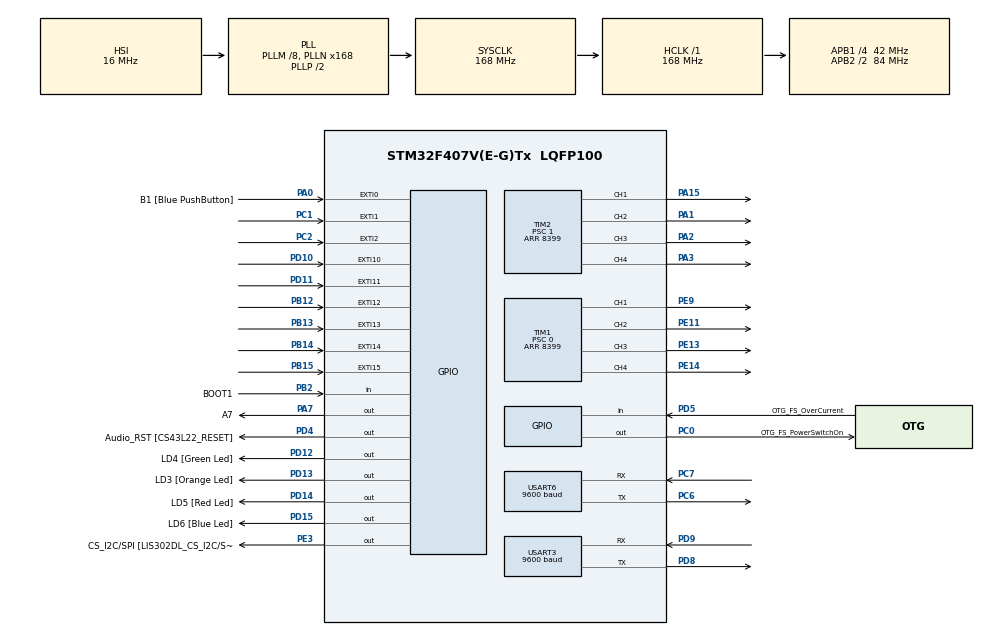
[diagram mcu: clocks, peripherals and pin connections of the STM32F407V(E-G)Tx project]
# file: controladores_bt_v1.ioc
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Mcu.Family=STM32F4
Mcu.Name=STM32F407V(E-G)Tx
Mcu.Package=LQFP100
NVIC.EXTI0_IRQn=true\:0\:0\:false\:false\:true\:true\:true\:true
NVIC.EXTI15_10_IRQn=true\:0\:0\:false\:false\:true\:true\:true\:true
NVIC.EXTI1_IRQn=true\:0\:0\:false\:false\:true\:true\:true\:true
NVIC.EXTI2_IRQn=true\:0\:0\:false\:false\:true\:true\:true\:true
NVIC.PriorityGroup=NVIC_PRIORITYGROUP_0
NVIC.TIM3_IRQn=true\:0\:0\:false\:false\:true\:true\:true\:true
NVIC.USART6_IRQn=true\:0\:0\:false\:false\:true\:true\:true\:true
PA0-WKUP.GPIO_Label=B1 [Blue PushButton]
PA0-WKUP.Signal=GPXTI0
PA1.Signal=S_TIM2_CH2
PA10.GPIO_Label=OTG_FS_ID
PA10.GPIO_Mode=GPIO_MODE_AF_PP
PA10.GPIO_PuPd=GPIO_NOPULL
PA10.GPIO_Speed=GPIO_SPEED_FREQ_LOW
PA10.Signal=USB_OTG_FS_ID
PA11.GPIO_Label=OTG_FS_DM
PA11.GPIO_Mode=GPIO_MODE_AF_PP
PA11.GPIO_PuPd=GPIO_NOPULL
PA11.GPIO_Speed=GPIO_SPEED_FREQ_LOW
PA11.Signal=USB_OTG_FS_DM
PA12.GPIO_Label=OTG_FS_DP
PA12.GPIO_Mode=GPIO_MODE_AF_PP
PA12.GPIO_PuPd=GPIO_NOPULL
PA12.GPIO_Speed=GPIO_SPEED_FREQ_LOW
PA12.Signal=USB_OTG_FS_DP
PA13.GPIO_Label=SWDIO
PA13.Signal=SYS_JTMS-SWDIO
PA14.GPIO_Label=SWCLK
PA14.Signal=SYS_JTCK-SWCLK
PA15.Signal=S_TIM2_CH1_ETR
PA2.Signal=S_TIM2_CH3
PA3.Signal=S_TIM2_CH4
PA4.GPIO_Label=I2S3_WS [CS43L22_LRCK]
PA4.GPIO_Mode=GPIO_MODE_AF_PP
PA4.GPIO_PuPd=GPIO_NOPULL
PA4.GPIO_Speed=GPIO_SPEED_FREQ_LOW
PA4.Signal=I2S3_WS
PA5.GPIO_Label=SPI1_SCK [LIS302DL_SCL/SPC]
PA5.GPIO_Mode=GPIO_MODE_AF_PP
PA5.GPIO_PuPd=GPIO_NOPULL
PA5.GPIO_Speed=GPIO_SPEED_FREQ_LOW
PA5.Signal=SPI1_SCK
PA6.GPIO_Label=SPI1_MISO [LIS302DL_SDO]
PA6.GPIO_Mode=GPIO_MODE_AF_PP
PA6.GPIO_PuPd=GPIO_NOPULL
PA6.GPIO_Speed=GPIO_SPEED_FREQ_LOW
PA6.Signal=SPI1_MISO
PA7.GPIO_Label=A7
PA7.Signal=GPIO_Output
PA9.GPIO_Label=VBUS_FS
PA9.GPIO_Mode=GPIO_MODE_INPUT
PA9.GPIO_PuPd=GPIO_NOPULL
PA9.Signal=USB_OTG_FS_VBUS
PB10.GPIO_Label=CLK_IN [MP45DT02_CLK]
PB10.GPIO_Mode=GPIO_MODE_AF_PP
PB10.GPIO_PuPd=GPIO_NOPULL
PB10.GPIO_Speed=GPIO_SPEED_FREQ_LOW
PB10.Signal=I2S2_CK
PB12.Signal=GPXTI12
PB13.Signal=GPXTI13
PB14.Signal=GPXTI14
PB15.Signal=GPXTI15
PB2.GPIO_Label=BOOT1
PB2.GPIO_Mode=GPIO_MODE_INPUT
PB2.GPIO_PuPd=GPIO_NOPULL
PB2.Signal=GPIO_Input
PB3.GPIO_Label=SWO
PB3.Signal=SYS_JTDO-SWO
PB6.GPIO_Label=Audio_SCL [CS43L22_SCL]
PB6.GPIO_Mode=GPIO_MODE_AF_OD
PB6.GPIO_PuPd=GPIO_NOPULL
PB6.GPIO_Speed=GPIO_SPEED_FREQ_LOW
PB6.Signal=I2C1_SCL
PB9.GPIO_Label=Audio_SDA [CS43L22_SDA]
PB9.GPIO_Mode=GPIO_MODE_AF_OD
PB9.GPIO_PuPd=GPIO_NOPULL
PB9.GPIO_Speed=GPIO_SPEED_FREQ_LOW
PB9.Signal=I2C1_SDA
PC0.GPIO_Label=OTG_FS_PowerSwitchOn
PC0.GPIO_PuPd=GPIO_NOPULL
PC0.GPIO_Speed=GPIO_SPEED_FREQ_LOW
PC0.PinState=GPIO_PIN_SET
PC0.Signal=GPIO_Output
PC1.Signal=GPXTI1
PC10.GPIO_Label=I2S3_SCK [CS43L22_SCLK]
PC10.GPIO_Mode=GPIO_MODE_AF_PP
PC10.GPIO_PuPd=GPIO_NOPULL
PC10.GPIO_Speed=GPIO_SPEED_FREQ_LOW
PC10.Signal=I2S3_CK
PC12.GPIO_Label=I2S3_SD [CS43L22_SDIN]
PC12.GPIO_Mode=GPIO_MODE_AF_PP
PC12.GPIO_PuPd=GPIO_NOPULL
PC12.GPIO_Speed=GPIO_SPEED_FREQ_LOW
PC12.Signal=I2S3_SD
PC14-OSC32_IN.GPIO_Label=PC14-OSC32_IN
PC14-OSC32_IN.Mode=LSE-External-Oscillator
PC14-OSC32_IN.Signal=RCC_OSC32_IN
PC15-OSC32_OUT.GPIO_Label=PC15-OSC32_OUT
PC15-OSC32_OUT.Mode=LSE-External-Oscillator
PC15-OSC32_OUT.Signal=RCC_OSC32_OUT
PC2.Signal=GPXTI2
PC3.GPIO_Label=PDM_OUT [MP45DT02_DOUT]
PC3.GPIO_Mode=GPIO_MODE_AF_PP
PC3.GPIO_PuPd=GPIO_NOPULL
PC3.GPIO_Speed=GPIO_SPEED_FREQ_LOW
PC3.Signal=I2S2_SD
PC6.Mode=Asynchronous
PC6.Signal=USART6_TX
PC7.Mode=Asynchronous
PC7.Signal=USART6_RX
PD10.Signal=GPXTI10
PD11.Signal=GPXTI11
PD12.GPIO_Label=LD4 [Green Led]
PD12.GPIO_PuPd=GPIO_NOPULL
PD12.GPIO_Speed=GPIO_SPEED_FREQ_LOW
PD12.Signal=GPIO_Output
PD13.GPIO_Label=LD3 [Orange Led]
PD13.GPIO_PuPd=GPIO_NOPULL
PD13.GPIO_Speed=GPIO_SPEED_FREQ_LOW
PD13.Signal=GPIO_Output
PD14.GPIO_Label=LD5 [Red Led]
PD14.GPIO_PuPd=GPIO_NOPULL
PD14.GPIO_Speed=GPIO_SPEED_FREQ_LOW
PD14.Signal=GPIO_Output
PD15.GPIO_Label=LD6 [Blue Led]
PD15.GPIO_PuPd=GPIO_NOPULL
PD15.GPIO_Speed=GPIO_SPEED_FREQ_LOW
PD15.Signal=GPIO_Output
PD4.GPIO_Label=Audio_RST [CS43L22_RESET]
PD4.GPIO_PuPd=GPIO_NOPULL
PD4.GPIO_Speed=GPIO_SPEED_FREQ_LOW
PD4.Signal=GPIO_Output
PD5.GPIO_Label=OTG_FS_OverCurrent
PD5.GPIO_Mode=GPIO_MODE_INPUT
PD5.GPIO_PuPd=GPIO_NOPULL
PD5.Signal=GPIO_Input
PD8.Mode=Asynchronous
PD8.Signal=USART3_TX
PD9.Mode=Asynchronous
PD9.Signal=USART3_RX
PE11.Signal=S_TIM1_CH2
PE13.Signal=S_TIM1_CH3
PE14.Signal=S_TIM1_CH4
PE3.GPIO_Label=CS_I2C/SPI [LIS302DL_CS_I2C/SPI]
PE3.GPIO_PuPd=GPIO_NOPULL
PE3.GPIO_Speed=GPIO_SPEED_FREQ_LOW
PE3.Signal=GPIO_Output
PE9.Signal=S_TIM1_CH1
PH0-OSC_IN.GPIO_Label=PH0-OSC_IN
PH0-OSC_IN.Mode=HSE-External-Oscillator
PH0-OSC_IN.Signal=RCC_OSC_IN
PH1-OSC_OUT.GPIO_Label=PH1-OSC_OUT
PH1-OSC_OUT.Mode=HSE-External-Oscillator
PH1-OSC_OUT.Signal=RCC_OSC_OUT
ProjectManager.HeapSize=0x200
ProjectManager.StackSize=0x400
ProjectManager.TargetToolchain=STM32CubeIDE
RCC.48MHZClocksFreq_Value=48000000
RCC.AHBFreq_Value=168000000
RCC.APB1CLKDivider=RCC_HCLK_DIV4
RCC.APB1Freq_Value=42000000
RCC.APB1TimFreq_Value=84000000
RCC.APB2CLKDivider=RCC_HCLK_DIV2
RCC.APB2Freq_Value=84000000
RCC.APB2TimFreq_Value=168000000
RCC.CortexFreq_Value=168000000
RCC.HCLKFreq_Value=168000000
RCC.HSE_VALUE=8000000
RCC.HSI_VALUE=16000000
RCC.PLLM=8
RCC.PLLN=168
RCC.PLLQ=7
RCC.SYSCLKFreq_VALUE=168000000
RCC.SYSCLKSource=RCC_SYSCLKSOURCE_PLLCLK
RCC.VCOOutputFreq_Value=336000000
SH.S_TIM1_CH1.0=TIM1_CH1,PWM Generation1 CH1
SH.S_TIM1_CH2.0=TIM1_CH2,PWM Generation2 CH2
SH.S_TIM1_CH3.0=TIM1_CH3,PWM Generation3 CH3
SH.S_TIM1_CH4.0=TIM1_CH4,PWM Generation4 CH4
SH.S_TIM2_CH1_ETR.0=TIM2_CH1,PWM Generation1 CH1
SH.S_TIM2_CH2.0=TIM2_CH2,PWM Generation2 CH2
SH.S_TIM2_CH3.0=TIM2_CH3,PWM Generation3 CH3
SH.S_TIM2_CH4.0=TIM2_CH4,PWM Generation4 CH4
TIM1.AutoReloadPreload=TIM_AUTORELOAD_PRELOAD_ENABLE
TIM1.Channel-PWM\ Generation1\ CH1=TIM_CHANNEL_1
TIM1.Channel-PWM\ Generation2\ CH2=TIM_CHANNEL_2
TIM1.Channel-PWM\ Generation3\ CH3=TIM_CHANNEL_3
TIM1.Channel-PWM\ Generation4\ CH4=TIM_CHANNEL_4
TIM1.Period=8399
TIM1.Prescaler=0
TIM2.AutoReloadPreload=TIM_AUTORELOAD_PRELOAD_ENABLE
TIM2.Channel-PWM\ Generation1\ CH1=TIM_CHANNEL_1
TIM2.Channel-PWM\ Generation2\ CH2=TIM_CHANNEL_2
TIM2.Channel-PWM\ Generation3\ CH3=TIM_CHANNEL_3
TIM2.Channel-PWM\ Generation4\ CH4=TIM_CHANNEL_4
TIM2.Period=8399
TIM2.Prescaler=1
TIM3.AutoReloadPreload=TIM_AUTORELOAD_PRELOAD_ENABLE
TIM3.Period=9999
TIM3.Prescaler=41
USART3.BaudRate=9600
USART3.VirtualMode=VM_ASYNC
USART6.BaudRate=9600
USART6.VirtualMode=VM_ASYNC
VP_TIM1_VS_ClockSourceINT.Mode=Internal
VP_TIM2_VS_ClockSourceINT.Mode=Internal
VP_TIM3_VS_ClockSourceINT.Mode=Internal
board=STM32F407G-DISC1

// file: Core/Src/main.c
/* USER CODE BEGIN Header */
/**

/* USER CODE END Header */
#include "main.h"

/* USER CODE BEGIN Includes */
#include <stdio.h>
#include <string.h>

// Variables globales para cada motor
typedef struct {
    float kp; // Ganancia proporcional
    float ki; // Ganancia integral
    float prev_error; // Error anterior
    float integral; // Acumulador integral
} PIcontroller;

void controlarMotor(TIM_HandleTypeDef *htim, uint32_t channel1, uint32_t channel2,
                    PIcontroller *pid, float setpoint, float feedback, int direccion, float a, float b, int motor);

void movimiento(char str, float setpointM1, float setpointM2, float setpointM3, float setpointM4,
                float feedbackM1, float feedbackM2, float feedbackM3, float feedbackM4, float a_m1, float b_m1,
				float a_m2, float b_m2, float a_m3, float b_m3,float a_m4, float b_m4);

/* USER CODE END Includes */

TIM_HandleTypeDef htim1;
TIM_HandleTypeDef htim2;
TIM_HandleTypeDef htim3;

UART_HandleTypeDef huart3;
UART_HandleTypeDef huart6;

void SystemClock_Config(void);
static void MX_GPIO_Init(void);
static void MX_TIM1_Init(void);
static void MX_TIM2_Init(void);
static void MX_TIM3_Init(void);
static void MX_USART6_UART_Init(void);
static void MX_USART3_UART_Init(void);

/* USER CODE BEGIN 0 */
#define ENCODER_PPR 2000 // Pulsos por revolución del encoder
#define TIMER_INTERVAL 10 // Intervalo del cálculo de velocidad (ms)
/* Variables globales para los encoders */
char rxData='e';
char datico='e';
int *velocidad_mostrar;

volatile int32_t encoder_count_m1 = 0, encoder_count_m2 = 0, encoder_count_m3 = 0, encoder_count_m4 = 0;
volatile int8_t motor_direction_m1 = 0, motor_direction_m2 = 0, motor_direction_m3 = 0, motor_direction_m4 = 0;
volatile int32_t pulses_in_interval_m1 = 0, pulses_in_interval_m2 = 0, pulses_in_interval_m3 = 0, pulses_in_interval_m4 = 0;
volatile int32_t motor_speed_rpm_m1 = 0, motor_speed_rpm_m2 = 0, motor_speed_rpm_m3 = 0, motor_speed_rpm_m4 = 0;

float a_m1 = 22.697, a_m2 = 23.993, a_m3 = 22.697, a_m4 = 23.119;
float b_m1 = 1200.62, b_m2 = 1200.31, b_m3 = 927.31, b_m4 = 874;

// Función para calcular la salida del controlador PID
float calcularPID(PIcontroller *pid, float setpoint, float feedback, float a, float b) {
    float error = 0.5*(setpoint - feedback);
    pid->integral += error; // Acumulador de la integral
    pid->prev_error = error; // Actualizar error anterior

    return ((pid->kp * error) + (pid->ki * pid->integral))*a + b;
}

PIcontroller controladorM1 = { .kp = 0.328945918270809, .ki = 1.051473493173661};
PIcontroller controladorM2 = { .kp = 0.349547642624270, .ki = 1.172268884423284};
PIcontroller controladorM3 = { .kp = 0.422191752414783, .ki = 1.071228759963182};
PIcontroller controladorM4 = { .kp = 0.400520366470992, .ki = 1.063884770111944};

float feedbackM1, feedbackM2, feedbackM3, feedbackM4 = 0;  // Declare the feedback variables

/* ISR para las señales del encoder */
void HAL_GPIO_EXTI_Callback(uint16_t GPIO_Pin) {
    // Motor 1
    if (GPIO_Pin == GPIO_PIN_12 || GPIO_Pin == GPIO_PIN_13) {
        if (HAL_GPIO_ReadPin(GPIOB, GPIO_PIN_12) == HAL_GPIO_ReadPin(GPIOB, GPIO_PIN_13)) {
            encoder_count_m1++;
            pulses_in_interval_m1++;
            motor_direction_m1 = 1;
        } else {
            encoder_count_m1--;
            pulses_in_interval_m1++;
            motor_direction_m1 = -1;
        }
    }
    // Motor 2
    else if (GPIO_Pin == GPIO_PIN_14 || GPIO_Pin == GPIO_PIN_15) {
        if (HAL_GPIO_ReadPin(GPIOB, GPIO_PIN_14) == HAL_GPIO_ReadPin(GPIOB, GPIO_PIN_15)) {
            encoder_count_m2++;
            pulses_in_interval_m2++;
            motor_direction_m2 = 1;
        } else {
            encoder_count_m2--;
            pulses_in_interval_m2++;
            motor_direction_m2 = -1;
        }
    }
    // Motor 3
    else if (GPIO_Pin == GPIO_PIN_10 || GPIO_Pin == GPIO_PIN_11) {
        if (HAL_GPIO_ReadPin(GPIOD, GPIO_PIN_10) == HAL_GPIO_ReadPin(GPIOD, GPIO_PIN_11)) {
            encoder_count_m3++;
            pulses_in_interval_m3++;
            motor_direction_m3 = 1;
        } else {
            encoder_count_m3--;
            pulses_in_interval_m3++;
            motor_direction_m3 = -1;
        }
    }
    // Motor 4
    else if (GPIO_Pin == GPIO_PIN_2 || GPIO_Pin == GPIO_PIN_1) {
        if (HAL_GPIO_ReadPin(GPIOC, GPIO_PIN_1) == HAL_GPIO_ReadPin(GPIOC, GPIO_PIN_2)) {
            encoder_count_m4++;
            pulses_in_interval_m4++;
            motor_direction_m4 = 1;
        } else {
            encoder_count_m4--;
            pulses_in_interval_m4++;
            motor_direction_m4 = -1;
        }
    }
}
void HAL_UART_RxCpltCallback(UART_HandleTypeDef *huart) {
    if (huart->Instance == USART6) {
        // Reactivar la recepción ANTES de procesar datos
        HAL_UART_Receive_IT(&huart6, &rxData, 1);

        datico = rxData;  // Guardar el dato recibido

        // Confirmar que la interrupción se está ejecutando
        char mensaje[] = "Interrupcion UART ejecutada\n";
        HAL_UART_Transmit(&huart3, (uint8_t*)mensaje, strlen(mensaje), 100);

        // Reiniciar las integrales de cada controlador
        controladorM1.integral = 0;
        controladorM2.integral = 0;
        controladorM3.integral = 0;
        controladorM4.integral = 0;
    }
}

/* Temporizador para calcular velocidad */
void HAL_TIM_PeriodElapsedCallback(TIM_HandleTypeDef *htim) {
    if (htim->Instance == TIM3) {
        motor_speed_rpm_m1 = (pulses_in_interval_m1 * 60 * 1000) / (ENCODER_PPR * TIMER_INTERVAL);
        motor_speed_rpm_m2 = (pulses_in_interval_m2 * 60 * 1000) / (ENCODER_PPR * TIMER_INTERVAL);
        motor_speed_rpm_m3 = (pulses_in_interval_m3 * 60 * 1000) / (ENCODER_PPR * TIMER_INTERVAL);
        motor_speed_rpm_m4 = (pulses_in_interval_m4 * 60 * 1000) / (ENCODER_PPR * TIMER_INTERVAL);

        if (pulses_in_interval_m1 == 0) motor_speed_rpm_m1 = 0, motor_direction_m1 = 0;
        if (pulses_in_interval_m2 == 0) motor_speed_rpm_m2 = 0, motor_direction_m2 = 0;
        if (pulses_in_interval_m3 == 0) motor_speed_rpm_m3 = 0, motor_direction_m3 = 0;
        if (pulses_in_interval_m4 == 0) motor_speed_rpm_m4 = 0, motor_direction_m4 = 0;

        pulses_in_interval_m1 = pulses_in_interval_m2 = pulses_in_interval_m3 = pulses_in_interval_m4 = 0;
    }
}
/* USER CODE END 0 */

int main(void)
{

  /* MCU Configuration--------------------------------------------------------*/

  /* Reset of all peripherals, Initializes the Flash interface and the Systick. */

	HAL_Init();

  /* Configure the system clock */
  SystemClock_Config();

  /* Initialize all configured peripherals */
  MX_GPIO_Init();
  MX_TIM1_Init();
  MX_TIM2_Init();
  MX_TIM3_Init();
  MX_USART6_UART_Init();
  MX_USART3_UART_Init();
  /* USER CODE BEGIN 2 */
  HAL_UART_Receive_IT(&huart6, &rxData, 1);

  HAL_TIM_Base_Start_IT(&htim3);
  __HAL_RCC_GPIOD_CLK_ENABLE();

  HAL_TIM_PWM_Start_IT(&htim1, TIM_CHANNEL_1);
  __HAL_TIM_SetCompare(&htim1, TIM_CHANNEL_1, 0);

  HAL_TIM_PWM_Start_IT(&htim1, TIM_CHANNEL_2);
  __HAL_TIM_SetCompare(&htim1, TIM_CHANNEL_2, 0);

  HAL_TIM_PWM_Start_IT(&htim1, TIM_CHANNEL_3);
  __HAL_TIM_SetCompare(&htim1, TIM_CHANNEL_3, 0);

  HAL_TIM_PWM_Start_IT(&htim1, TIM_CHANNEL_4);
  __HAL_TIM_SetCompare(&htim1, TIM_CHANNEL_4, 0);

  HAL_TIM_PWM_Start_IT(&htim2, TIM_CHANNEL_1);
  __HAL_TIM_SetCompare(&htim2, TIM_CHANNEL_1, 0);

  HAL_TIM_PWM_Start_IT(&htim2, TIM_CHANNEL_2);
  __HAL_TIM_SetCompare(&htim2, TIM_CHANNEL_2, 0);

  HAL_TIM_PWM_Start_IT(&htim2, TIM_CHANNEL_3);
  __HAL_TIM_SetCompare(&htim2, TIM_CHANNEL_3, 0);

  HAL_TIM_PWM_Start_IT(&htim2, TIM_CHANNEL_4);
  __HAL_TIM_SetCompare(&htim2, TIM_CHANNEL_4, 0);

  HAL_TIM_Base_Start_IT(&htim3);
  __HAL_RCC_GPIOD_CLK_ENABLE();

  /* USER CODE END 2 */

  /* Infinite loop */
  /* USER CODE BEGIN WHILE */
  while (1)
  {
	  movimiento(datico, 40.0, 40.0, 40.0, 40.0, motor_speed_rpm_m1, motor_speed_rpm_m2, motor_speed_rpm_m3, motor_speed_rpm_m4, a_m1, b_m1,a_m2, b_m2,
	 	 	 	 				 a_m3, b_m3,a_m4, b_m4);
	  HAL_Delay(200);
	  HAL_GPIO_TogglePin(A7_GPIO_Port, A7_Pin);
	  HAL_Delay(1000);

    /* USER CODE END WHILE */

  }
}

void SystemClock_Config(void)
{
  RCC_OscInitTypeDef RCC_OscInitStruct = {0};
  RCC_ClkInitTypeDef RCC_ClkInitStruct = {0};

  /** Configure the main internal regulator output voltage
  */
  __HAL_RCC_PWR_CLK_ENABLE();
  __HAL_PWR_VOLTAGESCALING_CONFIG(PWR_REGULATOR_VOLTAGE_SCALE1);

  /** Initializes the RCC Oscillators according to the specified parameters
  * in the RCC_OscInitTypeDef structure.
  */
  RCC_OscInitStruct.OscillatorType = RCC_OSCILLATORTYPE_HSI;
  RCC_OscInitStruct.HSIState = RCC_HSI_ON;
  RCC_OscInitStruct.HSICalibrationValue = RCC_HSICALIBRATION_DEFAULT;
  RCC_OscInitStruct.PLL.PLLState = RCC_PLL_ON;
  RCC_OscInitStruct.PLL.PLLSource = RCC_PLLSOURCE_HSI;
  RCC_OscInitStruct.PLL.PLLM = 8;
  RCC_OscInitStruct.PLL.PLLN = 168;
  RCC_OscInitStruct.PLL.PLLP = RCC_PLLP_DIV2;
  RCC_OscInitStruct.PLL.PLLQ = 7;
  if (HAL_RCC_OscConfig(&RCC_OscInitStruct) != HAL_OK)
  {
    Error_Handler();
  }

  /** Initializes the CPU, AHB and APB buses clocks
  */
  RCC_ClkInitStruct.ClockType = RCC_CLOCKTYPE_HCLK|RCC_CLOCKTYPE_SYSCLK
                              |RCC_CLOCKTYPE_PCLK1|RCC_CLOCKTYPE_PCLK2;
  RCC_ClkInitStruct.SYSCLKSource = RCC_SYSCLKSOURCE_PLLCLK;
  RCC_ClkInitStruct.AHBCLKDivider = RCC_SYSCLK_DIV1;
  RCC_ClkInitStruct.APB1CLKDivider = RCC_HCLK_DIV4;
  RCC_ClkInitStruct.APB2CLKDivider = RCC_HCLK_DIV2;

  if (HAL_RCC_ClockConfig(&RCC_ClkInitStruct, FLASH_LATENCY_5) != HAL_OK)
  {
    Error_Handler();
  }
}

static void MX_TIM1_Init(void)
{

  TIM_ClockConfigTypeDef sClockSourceConfig = {0};
  TIM_MasterConfigTypeDef sMasterConfig = {0};
  TIM_OC_InitTypeDef sConfigOC = {0};
  TIM_BreakDeadTimeConfigTypeDef sBreakDeadTimeConfig = {0};

  htim1.Instance = TIM1;
  htim1.Init.Prescaler = 0;
  htim1.Init.CounterMode = TIM_COUNTERMODE_UP;
  htim1.Init.Period = 8399;
  htim1.Init.ClockDivision = TIM_CLOCKDIVISION_DIV1;
  htim1.Init.RepetitionCounter = 0;
  htim1.Init.AutoReloadPreload = TIM_AUTORELOAD_PRELOAD_ENABLE;
  if (HAL_TIM_Base_Init(&htim1) != HAL_OK)
  {
    Error_Handler();
  }
  sClockSourceConfig.ClockSource = TIM_CLOCKSOURCE_INTERNAL;
  if (HAL_TIM_ConfigClockSource(&htim1, &sClockSourceConfig) != HAL_OK)
  {
    Error_Handler();
  }
  if (HAL_TIM_PWM_Init(&htim1) != HAL_OK)
  {
    Error_Handler();
  }
  sMasterConfig.MasterOutputTrigger = TIM_TRGO_RESET;
  sMasterConfig.MasterSlaveMode = TIM_MASTERSLAVEMODE_DISABLE;
  if (HAL_TIMEx_MasterConfigSynchronization(&htim1, &sMasterConfig) != HAL_OK)
  {
    Error_Handler();
  }
  sConfigOC.OCMode = TIM_OCMODE_PWM1;
  sConfigOC.Pulse = 0;
  sConfigOC.OCPolarity = TIM_OCPOLARITY_HIGH;
  sConfigOC.OCNPolarity = TIM_OCNPOLARITY_HIGH;
  sConfigOC.OCFastMode = TIM_OCFAST_DISABLE;
  sConfigOC.OCIdleState = TIM_OCIDLESTATE_RESET;
  sConfigOC.OCNIdleState = TIM_OCNIDLESTATE_RESET;
  if (HAL_TIM_PWM_ConfigChannel(&htim1, &sConfigOC, TIM_CHANNEL_1) != HAL_OK)
  {
    Error_Handler();
  }
  if (HAL_TIM_PWM_ConfigChannel(&htim1, &sConfigOC, TIM_CHANNEL_2) != HAL_OK)
  {
    Error_Handler();
  }
  if (HAL_TIM_PWM_ConfigChannel(&htim1, &sConfigOC, TIM_CHANNEL_3) != HAL_OK)
  {
    Error_Handler();
  }
  if (HAL_TIM_PWM_ConfigChannel(&htim1, &sConfigOC, TIM_CHANNEL_4) != HAL_OK)
  {
    Error_Handler();
  }
  sBreakDeadTimeConfig.OffStateRunMode = TIM_OSSR_DISABLE;
  sBreakDeadTimeConfig.OffStateIDLEMode = TIM_OSSI_DISABLE;
  sBreakDeadTimeConfig.LockLevel = TIM_LOCKLEVEL_OFF;
  sBreakDeadTimeConfig.DeadTime = 0;
  sBreakDeadTimeConfig.BreakState = TIM_BREAK_DISABLE;
  sBreakDeadTimeConfig.BreakPolarity = TIM_BREAKPOLARITY_HIGH;
  sBreakDeadTimeConfig.AutomaticOutput = TIM_AUTOMATICOUTPUT_DISABLE;
  if (HAL_TIMEx_ConfigBreakDeadTime(&htim1, &sBreakDeadTimeConfig) != HAL_OK)
  {
    Error_Handler();
  }
  HAL_TIM_MspPostInit(&htim1);

}

static void MX_TIM2_Init(void)
{

  TIM_ClockConfigTypeDef sClockSourceConfig = {0};
  TIM_MasterConfigTypeDef sMasterConfig = {0};
  TIM_OC_InitTypeDef sConfigOC = {0};

  htim2.Instance = TIM2;
  htim2.Init.Prescaler = 1;
  htim2.Init.CounterMode = TIM_COUNTERMODE_UP;
  htim2.Init.Period = 8399;
  htim2.Init.ClockDivision = TIM_CLOCKDIVISION_DIV1;
  htim2.Init.AutoReloadPreload = TIM_AUTORELOAD_PRELOAD_ENABLE;
  if (HAL_TIM_Base_Init(&htim2) != HAL_OK)
  {
    Error_Handler();
  }
  sClockSourceConfig.ClockSource = TIM_CLOCKSOURCE_INTERNAL;
  if (HAL_TIM_ConfigClockSource(&htim2, &sClockSourceConfig) != HAL_OK)
  {
    Error_Handler();
  }
  if (HAL_TIM_PWM_Init(&htim2) != HAL_OK)
  {
    Error_Handler();
  }
  sMasterConfig.MasterOutputTrigger = TIM_TRGO_RESET;
  sMasterConfig.MasterSlaveMode = TIM_MASTERSLAVEMODE_DISABLE;
  if (HAL_TIMEx_MasterConfigSynchronization(&htim2, &sMasterConfig) != HAL_OK)
  {
    Error_Handler();
  }
  sConfigOC.OCMode = TIM_OCMODE_PWM1;
  sConfigOC.Pulse = 0;
  sConfigOC.OCPolarity = TIM_OCPOLARITY_HIGH;
  sConfigOC.OCFastMode = TIM_OCFAST_DISABLE;
  if (HAL_TIM_PWM_ConfigChannel(&htim2, &sConfigOC, TIM_CHANNEL_1) != HAL_OK)
  {
    Error_Handler();
  }
  if (HAL_TIM_PWM_ConfigChannel(&htim2, &sConfigOC, TIM_CHANNEL_2) != HAL_OK)
  {
    Error_Handler();
  }
  if (HAL_TIM_PWM_ConfigChannel(&htim2, &sConfigOC, TIM_CHANNEL_3) != HAL_OK)
  {
    Error_Handler();
  }
  if (HAL_TIM_PWM_ConfigChannel(&htim2, &sConfigOC, TIM_CHANNEL_4) != HAL_OK)
  {
    Error_Handler();
  }
  HAL_TIM_MspPostInit(&htim2);

}

static void MX_TIM3_Init(void)
{

  TIM_ClockConfigTypeDef sClockSourceConfig = {0};
  TIM_MasterConfigTypeDef sMasterConfig = {0};

  htim3.Instance = TIM3;
  htim3.Init.Prescaler = 41;
  htim3.Init.CounterMode = TIM_COUNTERMODE_UP;
  htim3.Init.Period = 9999;
  htim3.Init.ClockDivision = TIM_CLOCKDIVISION_DIV1;
  htim3.Init.AutoReloadPreload = TIM_AUTORELOAD_PRELOAD_ENABLE;
  if (HAL_TIM_Base_Init(&htim3) != HAL_OK)
  {
    Error_Handler();
  }
  sClockSourceConfig.ClockSource = TIM_CLOCKSOURCE_INTERNAL;
  if (HAL_TIM_ConfigClockSource(&htim3, &sClockSourceConfig) != HAL_OK)
  {
    Error_Handler();
  }
  sMasterConfig.MasterOutputTrigger = TIM_TRGO_RESET;
  sMasterConfig.MasterSlaveMode = TIM_MASTERSLAVEMODE_DISABLE;
  if (HAL_TIMEx_MasterConfigSynchronization(&htim3, &sMasterConfig) != HAL_OK)
  {
    Error_Handler();
  }

}

static void MX_USART3_UART_Init(void)
{

  huart3.Instance = USART3;
  huart3.Init.BaudRate = 9600;
  huart3.Init.WordLength = UART_WORDLENGTH_8B;
  huart3.Init.StopBits = UART_STOPBITS_1;
  huart3.Init.Parity = UART_PARITY_NONE;
  huart3.Init.Mode = UART_MODE_TX_RX;
  huart3.Init.HwFlowCtl = UART_HWCONTROL_NONE;
  huart3.Init.OverSampling = UART_OVERSAMPLING_16;
  if (HAL_UART_Init(&huart3) != HAL_OK)
  {
    Error_Handler();
  }

}

static void MX_USART6_UART_Init(void)
{

  huart6.Instance = USART6;
  huart6.Init.BaudRate = 9600;
  huart6.Init.WordLength = UART_WORDLENGTH_8B;
  huart6.Init.StopBits = UART_STOPBITS_1;
  huart6.Init.Parity = UART_PARITY_NONE;
  huart6.Init.Mode = UART_MODE_TX_RX;
  huart6.Init.HwFlowCtl = UART_HWCONTROL_NONE;
  huart6.Init.OverSampling = UART_OVERSAMPLING_16;
  if (HAL_UART_Init(&huart6) != HAL_OK)
  {
    Error_Handler();
  }

}

static void MX_GPIO_Init(void)
{
  GPIO_InitTypeDef GPIO_InitStruct = {0};

  /* GPIO Ports Clock Enable */
  __HAL_RCC_GPIOE_CLK_ENABLE();
  __HAL_RCC_GPIOC_CLK_ENABLE();
  __HAL_RCC_GPIOH_CLK_ENABLE();
  __HAL_RCC_GPIOA_CLK_ENABLE();
  __HAL_RCC_GPIOB_CLK_ENABLE();
  __HAL_RCC_GPIOD_CLK_ENABLE();

  /*Configure GPIO pin Output Level */
  HAL_GPIO_WritePin(CS_I2C_SPI_GPIO_Port, CS_I2C_SPI_Pin, GPIO_PIN_RESET);

  /*Configure GPIO pin Output Level */
  HAL_GPIO_WritePin(OTG_FS_PowerSwitchOn_GPIO_Port, OTG_FS_PowerSwitchOn_Pin, GPIO_PIN_SET);

  /*Configure GPIO pin Output Level */
  HAL_GPIO_WritePin(A7_GPIO_Port, A7_Pin, GPIO_PIN_RESET);

  /*Configure GPIO pin Output Level */
  HAL_GPIO_WritePin(GPIOD, LD4_Pin|LD3_Pin|LD5_Pin|LD6_Pin
                          |Audio_RST_Pin, GPIO_PIN_RESET);

  /*Configure GPIO pin : CS_I2C_SPI_Pin */
  GPIO_InitStruct.Pin = CS_I2C_SPI_Pin;
  GPIO_InitStruct.Mode = GPIO_MODE_OUTPUT_PP;
  GPIO_InitStruct.Pull = GPIO_NOPULL;
  GPIO_InitStruct.Speed = GPIO_SPEED_FREQ_LOW;
  HAL_GPIO_Init(CS_I2C_SPI_GPIO_Port, &GPIO_InitStruct);

  /*Configure GPIO pin : OTG_FS_PowerSwitchOn_Pin */
  GPIO_InitStruct.Pin = OTG_FS_PowerSwitchOn_Pin;
  GPIO_InitStruct.Mode = GPIO_MODE_OUTPUT_PP;
  GPIO_InitStruct.Pull = GPIO_NOPULL;
  GPIO_InitStruct.Speed = GPIO_SPEED_FREQ_LOW;
  HAL_GPIO_Init(OTG_FS_PowerSwitchOn_GPIO_Port, &GPIO_InitStruct);

  /*Configure GPIO pins : PC1 PC2 */
  GPIO_InitStruct.Pin = GPIO_PIN_1|GPIO_PIN_2;
  GPIO_InitStruct.Mode = GPIO_MODE_IT_RISING;
  GPIO_InitStruct.Pull = GPIO_NOPULL;
  HAL_GPIO_Init(GPIOC, &GPIO_InitStruct);

  /*Configure GPIO pin : PDM_OUT_Pin */
  GPIO_InitStruct.Pin = PDM_OUT_Pin;
  GPIO_InitStruct.Mode = GPIO_MODE_AF_PP;
  GPIO_InitStruct.Pull = GPIO_NOPULL;
  GPIO_InitStruct.Speed = GPIO_SPEED_FREQ_LOW;
  GPIO_InitStruct.Alternate = GPIO_AF5_SPI2;
  HAL_GPIO_Init(PDM_OUT_GPIO_Port, &GPIO_InitStruct);

  /*Configure GPIO pin : B1_Pin */
  GPIO_InitStruct.Pin = B1_Pin;
  GPIO_InitStruct.Mode = GPIO_MODE_IT_RISING;
  GPIO_InitStruct.Pull = GPIO_NOPULL;
  HAL_GPIO_Init(B1_GPIO_Port, &GPIO_InitStruct);

  /*Configure GPIO pin : I2S3_WS_Pin */
  GPIO_InitStruct.Pin = I2S3_WS_Pin;
  GPIO_InitStruct.Mode = GPIO_MODE_AF_PP;
  GPIO_InitStruct.Pull = GPIO_NOPULL;
  GPIO_InitStruct.Speed = GPIO_SPEED_FREQ_LOW;
  GPIO_InitStruct.Alternate = GPIO_AF6_SPI3;
  HAL_GPIO_Init(I2S3_WS_GPIO_Port, &GPIO_InitStruct);

  /*Configure GPIO pins : SPI1_SCK_Pin SPI1_MISO_Pin */
  GPIO_InitStruct.Pin = SPI1_SCK_Pin|SPI1_MISO_Pin;
  GPIO_InitStruct.Mode = GPIO_MODE_AF_PP;
  GPIO_InitStruct.Pull = GPIO_NOPULL;
  GPIO_InitStruct.Speed = GPIO_SPEED_FREQ_LOW;
  GPIO_InitStruct.Alternate = GPIO_AF5_SPI1;
  HAL_GPIO_Init(GPIOA, &GPIO_InitStruct);

  /*Configure GPIO pin : A7_Pin */
  GPIO_InitStruct.Pin = A7_Pin;
  GPIO_InitStruct.Mode = GPIO_MODE_OUTPUT_PP;
  GPIO_InitStruct.Pull = GPIO_NOPULL;
  GPIO_InitStruct.Speed = GPIO_SPEED_FREQ_LOW;
  HAL_GPIO_Init(A7_GPIO_Port, &GPIO_InitStruct);

  /*Configure GPIO pin : BOOT1_Pin */
  GPIO_InitStruct.Pin = BOOT1_Pin;
  GPIO_InitStruct.Mode = GPIO_MODE_INPUT;
  GPIO_InitStruct.Pull = GPIO_NOPULL;
  HAL_GPIO_Init(BOOT1_GPIO_Port, &GPIO_InitStruct);

  /*Configure GPIO pin : CLK_IN_Pin */
  GPIO_InitStruct.Pin = CLK_IN_Pin;
  GPIO_InitStruct.Mode = GPIO_MODE_AF_PP;
  GPIO_InitStruct.Pull = GPIO_NOPULL;
  GPIO_InitStruct.Speed = GPIO_SPEED_FREQ_LOW;
  GPIO_InitStruct.Alternate = GPIO_AF5_SPI2;
  HAL_GPIO_Init(CLK_IN_GPIO_Port, &GPIO_InitStruct);

  /*Configure GPIO pins : PB12 PB13 PB14 PB15 */
  GPIO_InitStruct.Pin = GPIO_PIN_12|GPIO_PIN_13|GPIO_PIN_14|GPIO_PIN_15;
  GPIO_InitStruct.Mode = GPIO_MODE_IT_RISING;
  GPIO_InitStruct.Pull = GPIO_NOPULL;
  HAL_GPIO_Init(GPIOB, &GPIO_InitStruct);

  /*Configure GPIO pins : PD10 PD11 */
  GPIO_InitStruct.Pin = GPIO_PIN_10|GPIO_PIN_11;
  GPIO_InitStruct.Mode = GPIO_MODE_IT_RISING;
  GPIO_InitStruct.Pull = GPIO_NOPULL;
  HAL_GPIO_Init(GPIOD, &GPIO_InitStruct);

  /*Configure GPIO pins : LD4_Pin LD3_Pin LD5_Pin LD6_Pin
                           Audio_RST_Pin */
  GPIO_InitStruct.Pin = LD4_Pin|LD3_Pin|LD5_Pin|LD6_Pin
                          |Audio_RST_Pin;
  GPIO_InitStruct.Mode = GPIO_MODE_OUTPUT_PP;
  GPIO_InitStruct.Pull = GPIO_NOPULL;
  GPIO_InitStruct.Speed = GPIO_SPEED_FREQ_LOW;
  HAL_GPIO_Init(GPIOD, &GPIO_InitStruct);

  /*Configure GPIO pin : VBUS_FS_Pin */
  GPIO_InitStruct.Pin = VBUS_FS_Pin;
  GPIO_InitStruct.Mode = GPIO_MODE_INPUT;
  GPIO_InitStruct.Pull = GPIO_NOPULL;
  HAL_GPIO_Init(VBUS_FS_GPIO_Port, &GPIO_InitStruct);

  /*Configure GPIO pins : OTG_FS_ID_Pin OTG_FS_DM_Pin OTG_FS_DP_Pin */
  GPIO_InitStruct.Pin = OTG_FS_ID_Pin|OTG_FS_DM_Pin|OTG_FS_DP_Pin;
  GPIO_InitStruct.Mode = GPIO_MODE_AF_PP;
  GPIO_InitStruct.Pull = GPIO_NOPULL;
  GPIO_InitStruct.Speed = GPIO_SPEED_FREQ_LOW;
  GPIO_InitStruct.Alternate = GPIO_AF10_OTG_FS;
  HAL_GPIO_Init(GPIOA, &GPIO_InitStruct);

  /*Configure GPIO pins : I2S3_SCK_Pin I2S3_SD_Pin */
  GPIO_InitStruct.Pin = I2S3_SCK_Pin|I2S3_SD_Pin;
  GPIO_InitStruct.Mode = GPIO_MODE_AF_PP;
  GPIO_InitStruct.Pull = GPIO_NOPULL;
  GPIO_InitStruct.Speed = GPIO_SPEED_FREQ_LOW;
  GPIO_InitStruct.Alternate = GPIO_AF6_SPI3;
  HAL_GPIO_Init(GPIOC, &GPIO_InitStruct);

  /*Configure GPIO pin : OTG_FS_OverCurrent_Pin */
  GPIO_InitStruct.Pin = OTG_FS_OverCurrent_Pin;
  GPIO_InitStruct.Mode = GPIO_MODE_INPUT;
  GPIO_InitStruct.Pull = GPIO_NOPULL;
  HAL_GPIO_Init(OTG_FS_OverCurrent_GPIO_Port, &GPIO_InitStruct);

  /*Configure GPIO pins : Audio_SCL_Pin Audio_SDA_Pin */
  GPIO_InitStruct.Pin = Audio_SCL_Pin|Audio_SDA_Pin;
  GPIO_InitStruct.Mode = GPIO_MODE_AF_OD;
  GPIO_InitStruct.Pull = GPIO_NOPULL;
  GPIO_InitStruct.Speed = GPIO_SPEED_FREQ_LOW;
  GPIO_InitStruct.Alternate = GPIO_AF4_I2C1;
  HAL_GPIO_Init(GPIOB, &GPIO_InitStruct);

  /* EXTI interrupt init*/
  HAL_NVIC_SetPriority(EXTI0_IRQn, 0, 0);
  HAL_NVIC_EnableIRQ(EXTI0_IRQn);

  HAL_NVIC_SetPriority(EXTI1_IRQn, 0, 0);
  HAL_NVIC_EnableIRQ(EXTI1_IRQn);

  HAL_NVIC_SetPriority(EXTI2_IRQn, 0, 0);
  HAL_NVIC_EnableIRQ(EXTI2_IRQn);

  HAL_NVIC_SetPriority(EXTI15_10_IRQn, 0, 0);
  HAL_NVIC_EnableIRQ(EXTI15_10_IRQn);

}

/* USER CODE BEGIN 4 */
void controlarMotor(TIM_HandleTypeDef *htim, uint32_t channela, uint32_t channelb,
                    PIcontroller *pid, float setpoint, float feedback, int direccion, float a, float b, int motor) {
    // Calcular la salida del controlador
    float salidaControl = calcularPID(pid, setpoint, feedback, a, b);

    // Escalar la salida del controlador al rango de PWM
    int velocidad = (int)(salidaControl);
    if (velocidad < 0) velocidad = 0; // Velocidad mínima
    if (velocidad > 4000) velocidad = 4000; // Velocidad máxima
    if(motor == 4) {
        char buffer[20];
        snprintf(buffer, sizeof(buffer), "%i\n", velocidad);
        HAL_UART_Transmit(&huart3, (uint8_t *)buffer, strlen(buffer), 10);
    }

    // Controlar motor según la dirección
    if (direccion == 1) { // Adelante
        __HAL_TIM_SetCompare(htim, channela, velocidad);
        __HAL_TIM_SetCompare(htim, channelb, 0);
    } else if (direccion == -1) { // Atrás
        __HAL_TIM_SetCompare(htim, channela, 0);
        __HAL_TIM_SetCompare(htim, channelb, velocidad);
    } else { // Parar
        __HAL_TIM_SetCompare(htim, channela, 0);
        __HAL_TIM_SetCompare(htim, channelb, 0);
    }
}

void movimiento(char str, float setpointM1, float setpointM2, float setpointM3, float setpointM4,
                float feedbackM1, float feedbackM2, float feedbackM3, float feedbackM4, float a_m1, float b_m1,
				float a_m2, float b_m2, float a_m3, float b_m3,float a_m4, float b_m4) {
    int direccionM1 = 0, direccionM2 = 0, direccionM3 = 0, direccionM4 = 0;

    // Configuración de direcciones según el comando
    switch (str) {
        case 'b': // Adelante
            direccionM1 = direccionM2 = direccionM3 = direccionM4 = 1;
            break;
        case 'h': // Atrás
            direccionM1 = direccionM2 = direccionM3 = direccionM4 = -1;
            break;
        case 'j': // Rotación en sentido horario
            direccionM1 = 1; direccionM2 = -1; direccionM3 = 1; direccionM4 = -1;
            break;
        case 'k': // Rotación en sentido antihorario
            direccionM1 = -1; direccionM2 = 1; direccionM3 = -1; direccionM4 = 1;
            break;
        case 'c': // Adelante 45° derecha
            direccionM1 = 1; direccionM2 = 0; direccionM3 = 0; direccionM4 = 1;
            break;
        case 'a': // Adelante 45° izquierda
            direccionM1 = 0; direccionM2 = 1; direccionM3 = 1; direccionM4 = 0;
            break;
        case 'g': // Atrás 45° izquierda
        	direccionM1 = -1; direccionM2 = 0; direccionM3 = 0; direccionM4 = -1;
            break;
        case 'i': // Atrás 45° derecha
        	direccionM1 = 0; direccionM2 = -1; direccionM3 = -1; direccionM4 = 0;
            break;
        case 'f': // Movimiento lateral a la derecha
            direccionM1 = 1; direccionM2 = -1; direccionM3 = -1; direccionM4 = 1;
            break;
        case 'd': // Movimiento lateral a la izquierda
            direccionM1 = -1; direccionM2 = 1; direccionM3 = 1; direccionM4 = -1;
            break;
        case 'e': // Parar
        default:
            direccionM1 = direccionM2 = direccionM3 = direccionM4 = 0;
            break;
    }
    // Controlar cada motor con su controlador PID
    controlarMotor(&htim1, TIM_CHANNEL_1, TIM_CHANNEL_2, &controladorM1, setpointM1, feedbackM1, direccionM1, a_m1, b_m1, 1);
    controlarMotor(&htim1, TIM_CHANNEL_3, TIM_CHANNEL_4, &controladorM2, setpointM2, feedbackM2, direccionM2, a_m2, b_m2, 2);
    controlarMotor(&htim2, TIM_CHANNEL_1, TIM_CHANNEL_2, &controladorM3, setpointM3, feedbackM3, direccionM3, a_m3, b_m3, 3);
    controlarMotor(&htim2, TIM_CHANNEL_3, TIM_CHANNEL_4, &controladorM4, setpointM4, feedbackM4, direccionM4, a_m4, b_m4, 4);
}

/* USER CODE END 4 */

void Error_Handler(void)
{
  __disable_irq();
  while (1)
  {
  }
}
